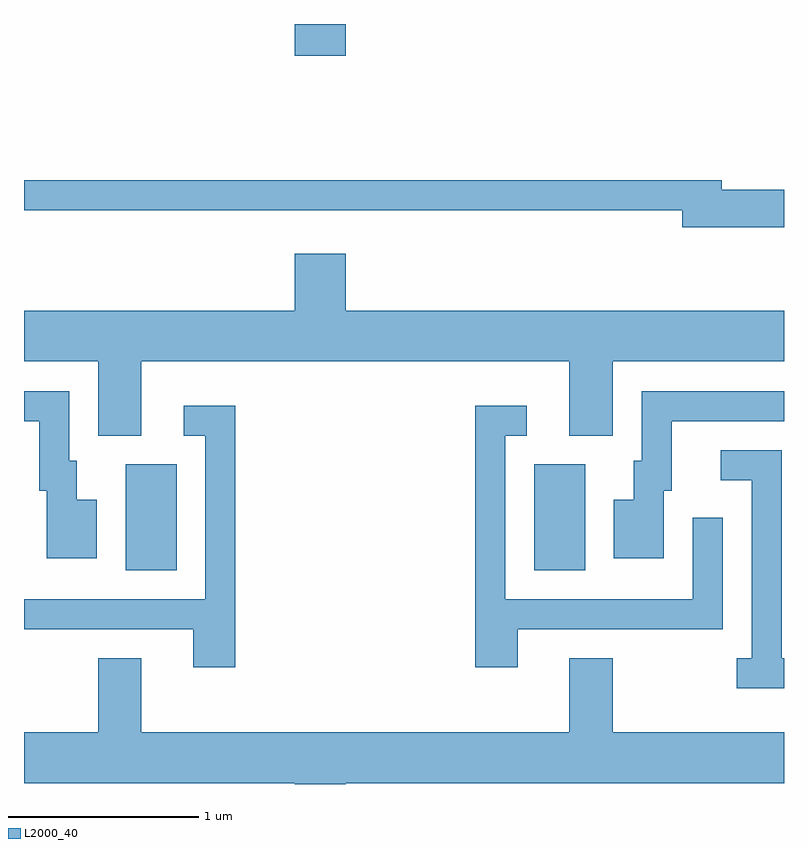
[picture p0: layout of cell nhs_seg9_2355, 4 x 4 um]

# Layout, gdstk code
import gdstk
lib = gdstk.Library(unit=1e-6, precision=1e-09)
def R(c, l, rs):  # rectangles x0, y0, x1, y1
    for r in rs: c.add(gdstk.rectangle(r[:2], r[2:], *l))
def P(c, l, *ps):  # polygons
    for p in ps: c.add(gdstk.Polygon(p, *l))
L2000_40 = (2000, 40)

nhs_seg9_2355 = lib.new_cell('nhs_seg9_2355')
R(nhs_seg9_2355, L2000_40, [(254.146,2039.556,254.414,2040.114), (256.296,2039.556,256.564,2040.114), (255.036,2042.266,255.304,2042.432)])
P(nhs_seg9_2355, L2000_40, [(257.611,2041.559),(257.284,2041.559),(257.284,2041.609),(253.611,2041.609),(253.611,2041.451),(257.076,2041.451),(257.076,2041.361),(257.611,2041.361)],
  [(254.229,2040.656),(256.481,2040.656),(256.481,2040.266),(256.709,2040.266),(256.709,2040.656),(257.611,2040.656),(257.611,2040.924),(255.304,2040.924),(255.304,2041.224),(255.036,2041.224),(255.036,2040.924),(253.611,2040.924),(253.611,2040.656),(254.001,2040.656),(254.001,2040.266),(254.229,2040.266)],
  [(253.994,2039.929),(253.889,2039.929),(253.889,2040.134),(253.849,2040.134),(253.849,2040.499),(253.611,2040.499),(253.611,2040.341),(253.691,2040.341),(253.691,2039.976),(253.731,2039.976),(253.731,2039.621),(253.994,2039.621)],
  [(256.979,2039.976),(257.019,2039.976),(257.019,2040.341),(257.611,2040.341),(257.611,2040.499),(256.861,2040.499),(256.861,2040.134),(256.821,2040.134),(256.821,2039.929),(256.716,2039.929),(256.716,2039.621),(256.979,2039.621)],
  [(254.724,2040.424),(254.453,2040.424),(254.453,2040.266),(254.566,2040.266),(254.566,2039.404),(253.611,2039.404),(253.611,2039.246),(254.501,2039.246),(254.501,2039.046),(254.724,2039.046)],
  [(256.209,2039.246),(257.289,2039.246),(257.289,2039.833),(257.131,2039.833),(257.131,2039.404),(256.144,2039.404),(256.144,2040.266),(256.258,2040.266),(256.258,2040.424),(255.986,2040.424),(255.986,2039.046),(256.209,2039.046)],
  [(257.611,2039.094),(257.599,2039.094),(257.599,2040.189),(257.278,2040.189),(257.278,2040.031),(257.441,2040.031),(257.441,2039.094),(257.363,2039.094),(257.363,2038.936),(257.611,2038.936)],
  [(254.001,2039.094),(254.001,2038.704),(253.611,2038.704),(253.611,2038.436),(255.036,2038.436),(255.036,2038.432),(255.304,2038.432),(255.304,2038.436),(257.611,2038.436),(257.611,2038.704),(256.709,2038.704),(256.709,2039.094),(256.481,2039.094),(256.481,2038.704),(254.229,2038.704),(254.229,2039.094)])

lib.write_gds('nhs_seg9_2355.gds')
